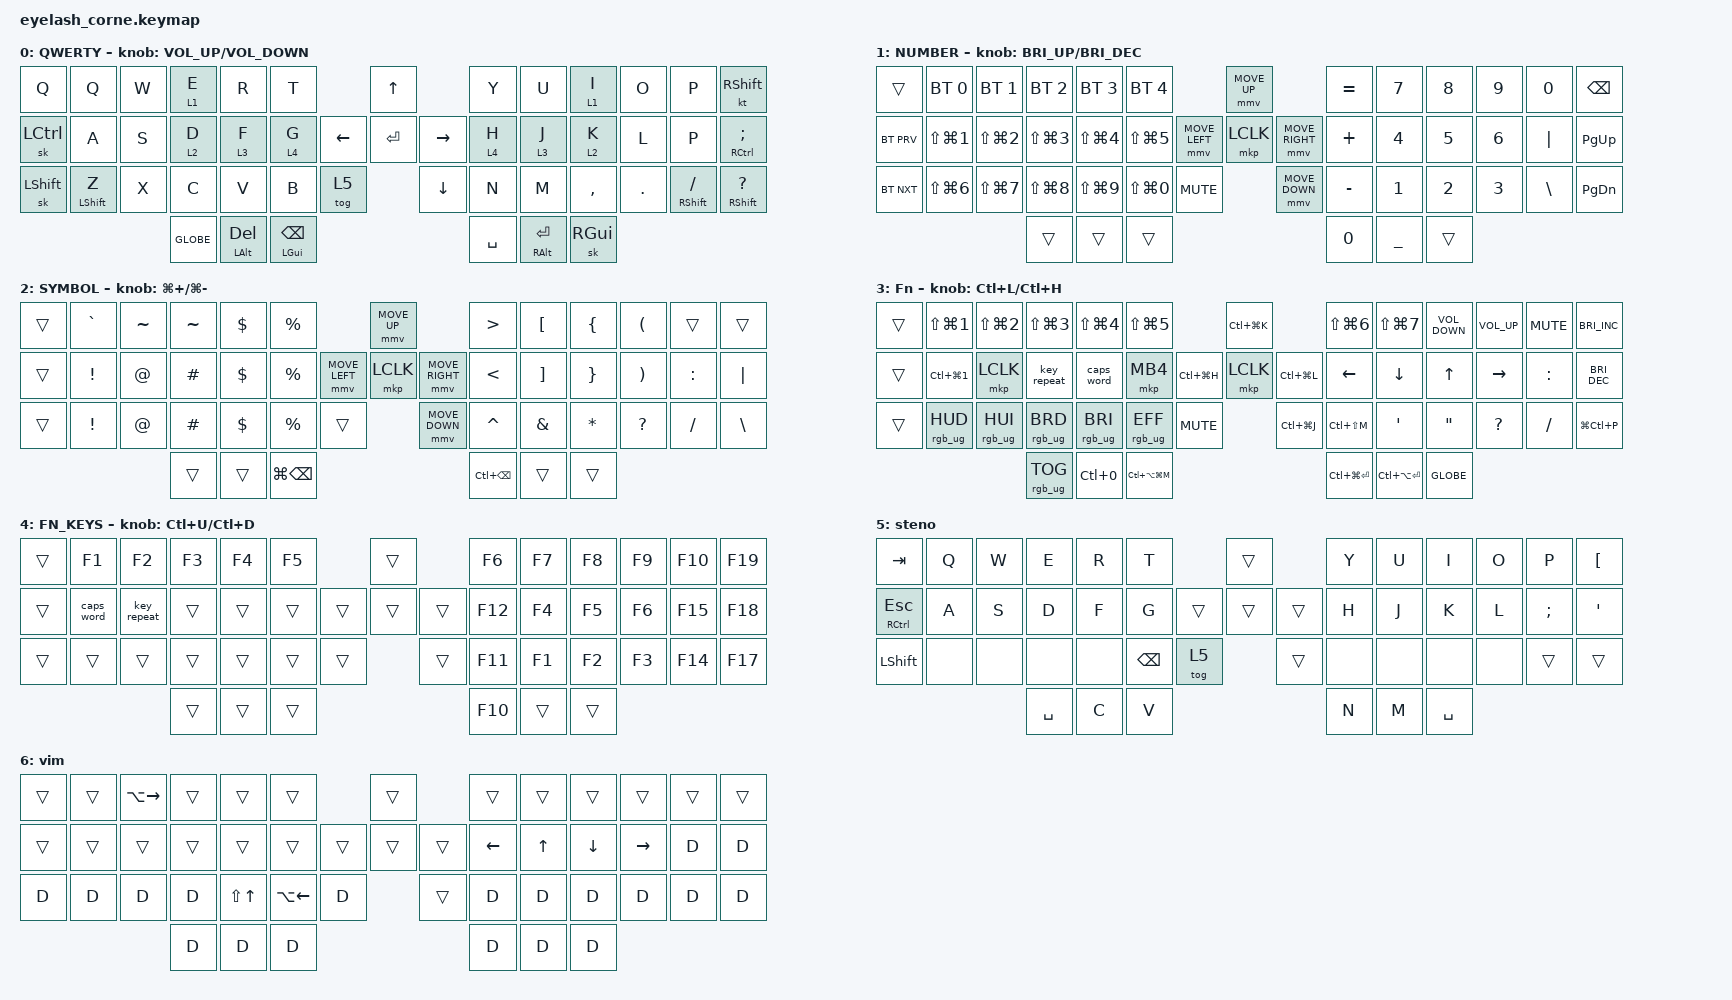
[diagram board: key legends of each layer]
#include <dt-bindings/zmk/mouse.h>
#include <input/processors.dtsi>
#include <behaviors.dtsi>
#include <dt-bindings/zmk/bt.h>
#include <dt-bindings/zmk/keys.h>
#include <dt-bindings/zmk/keys.h>
#include <dt-bindings/zmk/pointing.h>
#include <dt-bindings/zmk/pointing.h>
#include <dt-bindings/zmk/pointing.h>
#include <dt-bindings/zmk/rgb.h>

/*

   &mmv_input_listener {
       input-processors = <&zip_xy_scaler 2 1>;
   };

   &msc_input_listener {
       input-processors = <&zip_xy_scaler 2 1>;
   };

 */

#define ZMK_MOUSE_DEFAULT_MOVE_VAL 1200  // 600
#define ZMK_MOUSE_DEFAULT_SCRL_VAL 20    // 10

&mt { tapping-term-ms = <750>; };

/ {
    behaviors {
        td0: td0 {
            compatible = "zmk,behavior-tap-dance";
            display-name = "Shift/Caps Lock Tap Dance";
            #binding-cells = <0>;
            bindings = <&kp LEFT_SHIFT>, <&kp CAPS>;
        };
    };

    rgb_encoder: rgb_encoder {
        compatible = "zmk,behavior-sensor-rotate";
        #sensor-binding-cells = <0>;
        bindings = <&rgb_ug RGB_BRI>, <&rgb_ug RGB_BRD>;
    };

    scroll_encoder: scroll_encoder {
        compatible = "zmk,behavior-sensor-rotate";
        #sensor-binding-cells = <0>;
        bindings = <&msc SCRL_DOWN>, <&msc SCRL_UP>;

        tap-ms = <30>;
    };

    combos {
        compatible = "zmk,combos";

        esc_combo {
            bindings = <&kp ESCAPE>;
            key-positions = <38 39>;
            timeout-ms = <750>;
        };

        tab_combo_right {
            bindings = <&kp TAB>;
            key-positions = <37 38>;
            timeout-ms = <750>;
        };

        tab_combo_left {
            bindings = <&kp TAB>;
            key-positions = <31 32>;
            timeout-ms = <750>;
        };

        switch_input_method {
            bindings = <&kp LC(SPACE)>;
            key-positions = <30 31>;
            timeout-ms = <750>;
        };

        term {
            bindings = <&kp LC(A)>;
            key-positions = <8 10>;
            layers = <0>;
            timeout-ms = <750>;
            require-prior-idle-ms = <200>;
        };

        right_ctrl {
            bindings = <&sk RIGHT_CONTROL>;
            key-positions = <24 25>;
            layers = <0>;
            timeout-ms = <750>;
        };

        left_ctrl {
            bindings = <&sk LEFT_CONTROL>;
            key-positions = <15 16>;
            layers = <0>;
            timeout-ms = <750>;
        };

        ctrl_u {
            bindings = <&kp LC(U)>;
            key-positions = <8 7>;
            layers = <0>;
            timeout-ms = <750>;
        };

        ctrl_d {
            bindings = <&kp LC(D)>;
            key-positions = <23 22>;
            layers = <0>;
        };

        previous_page {
            bindings = <&kp LC(H)>;
            key-positions = <29 15>;
            timeout-ms = <750>;
        };

        next_page {
            bindings = <&kp RC(L)>;
            key-positions = <25 40>;
            timeout-ms = <750>;
        };

        cmd {
            bindings = <&sk LEFT_GUI>;
            key-positions = <16 17>;
            layers = <0>;
        };

        ctrl_cmd_left {
            bindings = <&sk LG(LEFT_CONTROL)>;
            key-positions = <15 17>;
        };

        sticky_alt_left {
            bindings = <&kt LEFT_ALT>;
            key-positions = <15 16 17>;
            layers = <0>;
        };

        cmd_sk_right {
            bindings = <&sk LEFT_GUI>;
            key-positions = <23 24>;
        };

        ctrl_cmd {
            bindings = <&sk LG(RCTRL)>;
            key-positions = <23 25>;
        };

        right_alt {
            bindings = <&sk LEFT_ALT>;
            key-positions = <23 24 25>;
        };

        as_for_shift {
            bindings = <&sk RSHFT>;
            key-positions = <14 15>;
            layers = <0>;
        };
    };

    macros {
        spacepp: new_macro {
            compatible = "zmk,behavior-macro";
            #binding-cells = <0>;
            bindings = <&kp SPACE &kp P &kp P>;
            label = "NEW_MACRO";
        };
    };

    keymap {
        compatible = "zmk,keymap";

        default_layer {
            display-name = "QWERTY";
            bindings = <
&kp Q           &kp Q             &kp W  &lt 1 E    &kp R                &kp T                                       &kp UP                &kp Y      &kp U                &lt 1 I        &kp O    &kp P                  &kt RIGHT_SHIFT
&sk LCTRL       &kp A             &kp S  &lt 2 D    &lt 3 F              &lt 4 G                           &kp LEFT  &kp ENTER  &kp RIGHT  &lt 4 H    &lt 3 J              &lt 2 K        &kp L    &kp P                  &mt RCTRL SEMICOLON
&sk LEFT_SHIFT  &mt LEFT_SHIFT Z  &kp X  &kp C      &kp V                &kp B                   &tog 5              &kp DOWN              &kp N      &kp M                &kp COMMA      &kp DOT  &mt RIGHT_SHIFT SLASH  &mt RIGHT_SHIFT QUESTION
                                         &kp GLOBE  &mt LEFT_ALT DELETE  &mt LEFT_GUI BACKSPACE                                            &kp SPACE  &mt RIGHT_ALT ENTER  &sk RIGHT_GUI
            >;

            sensor-bindings = <&inc_dec_kp C_VOLUME_UP C_VOLUME_DOWN>;
        };

        numbers {
            display-name = "NUMBER";
            bindings = <
&trans      &bt BT_SEL 0          &bt BT_SEL 1          &bt BT_SEL 2          &bt BT_SEL 3          &bt BT_SEL 4                                  &mmv MOVE_UP                     &kp EQUAL  &kp N7        &kp N8        &kp N9        &kp N0         &kp BSPC
&bt BT_PRV  &kp LS(LG(NUMBER_1))  &kp LS(LG(NUMBER_2))  &kp LS(LG(NUMBER_3))  &kp LS(LG(NUMBER_4))  &kp LS(LG(N5))                &mmv MOVE_LEFT  &mkp LCLK       &mmv MOVE_RIGHT  &kp PLUS   &kp NUMBER_4  &kp NUMBER_5  &kp NUMBER_6  &kp PIPE       &kp PG_UP
&bt BT_NXT  &kp LS(LG(NUMBER_6))  &kp LS(LG(N7))        &kp LS(LG(N8))        &kp LS(LG(N9))        &kp LS(LG(N0))  &kp C_MUTE                    &mmv MOVE_DOWN                   &kp MINUS  &kp NUMBER_1  &kp NUMBER_2  &kp NUMBER_3  &kp BACKSLASH  &kp PG_DN
                                                        &trans                &trans                &trans                                                                         &kp N0     &kp UNDER     &trans
            >;

            sensor-bindings = <&inc_dec_kp C_BRI_UP C_BRI_DEC>;
        };

        symbol {
            display-name = "SYMBOL";
            bindings = <
&trans  &kp GRAVE  &kp TILDE  &kp TILDE  &kp DLLR    &kp PRCNT                                    &mmv MOVE_UP                     &kp GREATER_THAN   &kp LBKT  &kp LBRC   &kp LPAR      &trans     &trans
&trans  &kp EXCL   &kp AT     &kp HASH   &kp DOLLAR  &kp PERCENT                  &mmv MOVE_LEFT  &mkp LCLK       &mmv MOVE_RIGHT  &kp LESS_THAN      &kp RBKT  &kp RBRC   &kp RPAR      &kp COLON  &kp PIPE
&trans  &kp EXCL   &kp AT     &kp HASH   &kp DOLLAR  &kp PERCENT        &trans                    &mmv MOVE_DOWN                   &kp CARET          &kp AMPS  &kp ASTRK  &kp QUESTION  &kp SLASH  &kp BACKSLASH
                              &trans     &trans      &kp LG(BACKSPACE)                                                             &kp LC(BACKSPACE)  &trans    &trans
            >;

            sensor-bindings = <&inc_dec_kp LG(PLUS) LG(MINUS)>;
            label = "SYMBOL";
        };

        Cool {
            display-name = "Fn";
            bindings = <
&trans  &kp LS(LG(NUMBER_1))  &kp LS(LG(NUMBER_2))  &kp LS(LG(NUMBER_3))  &kp LS(LG(NUMBER_4))  &kp LS(LG(NUMBER_5))                               &kp LC(LG(K))                 &kp LS(LG(NUMBER_6))  &kp LS(LG(NUMBER_7))  &kp C_VOLUME_DOWN  &kp C_VOLUME_UP  &kp K_MUTE  &kp C_BRIGHTNESS_INC
&trans  &kp LC(LG(NUMBER_1))  &mkp LCLK             &key_repeat           &caps_word            &mkp MB4                            &kp LC(LG(H))  &mkp LCLK      &kp LC(LG(L))  &kp LEFT              &kp DOWN_ARROW        &kp UP_ARROW       &kp RIGHT        &kp COLON   &kp C_BRIGHTNESS_DEC
&trans  &rgb_ug RGB_HUD       &rgb_ug RGB_HUI       &rgb_ug RGB_BRD       &rgb_ug RGB_BRI       &rgb_ug RGB_EFF       &kp C_MUTE                   &kp LC(LG(J))                 &kp LC(LS(M))         &kp SQT               &kp DOUBLE_QUOTES  &kp QUESTION     &kp SLASH   &kp LG(LC(P))
                                                    &rgb_ug RGB_TOG       &kp LC(N0)            &kp LC(LA(LG(M)))                                                                &kp LC(LG(ENTER))     &kp LC(LA(RET))       &kp GLOBE
            >;

            sensor-bindings = <&inc_dec_kp LC(L) LC(H)>;
            label = "COOL";
        };

        function {
            bindings = <
&trans  &kp F1      &kp F2       &kp F3  &kp F4  &kp F5                    &trans          &kp F6   &kp F7  &kp F8  &kp F9  &kp F10  &kp F19
&trans  &caps_word  &key_repeat  &trans  &trans  &trans            &trans  &trans  &trans  &kp F12  &kp F4  &kp F5  &kp F6  &kp F15  &kp F18
&trans  &trans      &trans       &trans  &trans  &trans  &trans            &trans          &kp F11  &kp F1  &kp F2  &kp F3  &kp F14  &kp F17
                                 &trans  &trans  &trans                                    &kp F10  &trans  &trans
            >;

            label = "FN_KEYS";
            sensor-bindings = <&inc_dec_kp LC(U) LC(D)>;
        };

        steno {
            bindings = <
&kp TAB           &kp Q  &kp W  &kp E      &kp R  &kp T                            &trans          &kp Y  &kp U  &kp I      &kp O  &kp P          &kp LEFT_BRACKET
&mt RCTRL ESCAPE  &kp A  &kp S  &kp D      &kp F  &kp G                    &trans  &trans  &trans  &kp H  &kp J  &kp K      &kp L  &kp SEMICOLON  &kp SINGLE_QUOTE
&kp LEFT_SHIFT    &none  &none  &none      &none  &kp BACKSPACE  &tog 5            &trans          &none  &none  &none      &none  &trans         &trans
                                &kp SPACE  &kp C  &kp V                                            &kp N  &kp M  &kp SPACE
            >;

            label = "steno";
        };

        vim {
            bindings = <
&trans  &trans  &kp LA(RIGHT)  &trans  &trans            &trans                         &trans          &trans    &trans        &trans          &trans     &trans  &trans
&trans  &trans  &trans         &trans  &trans            &trans                 &trans  &trans  &trans  &kp LEFT  &kp UP_ARROW  &kp DOWN_ARROW  &kp RIGHT  &kp D   &kp D
&kp D   &kp D   &kp D          &kp D   &kp LS(UP_ARROW)  &kp LA(LEFT)  &kp D            &trans          &kp D     &kp D         &kp D           &kp D      &kp D   &kp D
                               &kp D   &kp D             &kp D                                          &kp D     &kp D         &kp D
            >;
        };
    };
};
